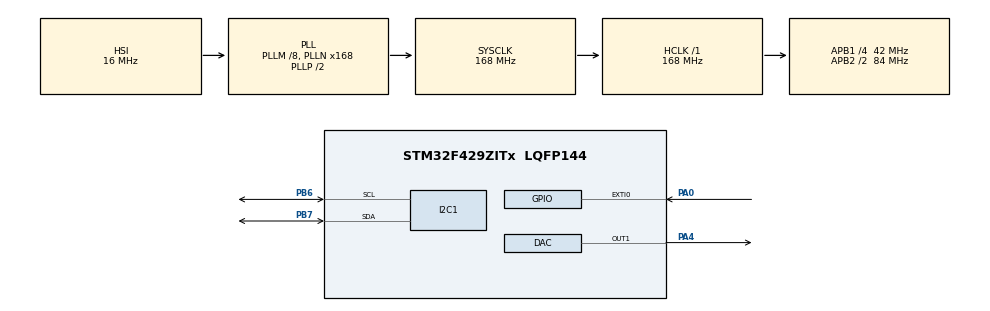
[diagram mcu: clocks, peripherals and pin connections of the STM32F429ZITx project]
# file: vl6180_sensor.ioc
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Mcu.Family=STM32F4
SH.COMP_DAC1_group.0=DAC_OUT1,DAC_OUT1
VP_SYS_VS_tim6.Mode=TIM6
TIM2.Channel-Output\ Compare1\ No\ Output=TIM_CHANNEL_1
RCC.CortexFreq_Value=168000000
Dma.DAC1.0.Instance=DMA1_Stream5
NVIC.I2C1_EV_IRQn=true\:0\:0\:false\:false\:true\:true\:true
NVIC.TIM6_DAC_IRQn=true\:0\:0\:false\:false\:true\:false\:true
PA0/WKUP.Signal=GPXTI0
RCC.APB1CLKDivider=RCC_HCLK_DIV4
RCC.SYSCLKSource=RCC_SYSCLKSOURCE_PLLCLK
ProjectManager.StackSize=0x400
Dma.DAC1.0.MemDataAlignment=DMA_MDATAALIGN_WORD
PA13.Signal=SYS_JTMS-SWDIO
ProjectManager.TargetToolchain=STM32CubeIDE
NVIC.DMA1_Stream5_IRQn=true\:0\:0\:false\:false\:true\:false\:true
PH0/OSC_IN.Mode=HSE-External-Clock-Source
RCC.HCLKFreq_Value=168000000
Dma.DAC1.0.PeriphInc=DMA_PINC_DISABLE
RCC.APB2TimFreq_Value=168000000
PB6.Signal=I2C1_SCL
PH1/OSC_OUT.Signal=RCC_OSC_OUT
PB6.Mode=I2C
RCC.LSE_VALUE=32768
Dma.DAC1.0.Direction=DMA_MEMORY_TO_PERIPH
RCC.AHBFreq_Value=168000000
RCC.HSE_VALUE=8000000
VP_TIM2_VS_no_output1.Mode=Output Compare1 No Output
PB3.Mode=Trace_Asynchronous_SW
board=STM32F429I-DISC1
RCC.VCOOutputFreq_Value=336000000
PH0/OSC_IN.Signal=RCC_OSC_IN
RCC.APB2Freq_Value=84000000
Dma.DAC1.0.Priority=DMA_PRIORITY_LOW
DAC.DAC_Trigger=DAC_TRIGGER_T2_TRGO
VP_TIM2_VS_ClockSourceINT.Mode=Internal
Dma.DAC1.0.FIFOMode=DMA_FIFOMODE_DISABLE
PA14.Mode=Trace_Asynchronous_SW
NVIC.TIM2_IRQn=true\:0\:0\:false\:false\:true\:true\:true
PB7.Signal=I2C1_SDA
TIM2.Period=100
PA0/WKUP.GPIO_PuPd=GPIO_PULLDOWN
PA0/WKUP.GPIO_ModeDefaultEXTI=GPIO_MODE_IT_RISING
PA13.Mode=Trace_Asynchronous_SW
PH1/OSC_OUT.Mode=HSE-External-Clock-Source
Mcu.Name=STM32F429ZITx
RCC.48MHZClocksFreq_Value=48000000
PB3.Signal=SYS_JTDO-SWO
NVIC.EXTI0_IRQn=true\:0\:0\:false\:false\:true\:true\:true
PA4.Signal=COMP_DAC1_group
RCC.SYSCLKFreq_VALUE=168000000
Mcu.Package=LQFP144
TIM2.Prescaler=168-1
Dma.DAC1.0.PeriphDataAlignment=DMA_PDATAALIGN_WORD
NVIC.TimeBase=TIM6_DAC_IRQn
Dma.DAC1.0.MemInc=DMA_MINC_ENABLE
Dma.DAC1.0.Mode=DMA_CIRCULAR
PB7.Mode=I2C
NVIC.TimeBaseIP=TIM6
PA14.Signal=SYS_JTCK-SWCLK
ProjectManager.HeapSize=0x200
RCC.HSI_VALUE=16000000
RCC.PLLQ=7
NVIC.PriorityGroup=NVIC_PRIORITYGROUP_4
TIM2.TIM_MasterOutputTrigger=TIM_TRGO_UPDATE
RCC.APB2CLKDivider=RCC_HCLK_DIV2
RCC.PLLM=8
RCC.PLLN=168
RCC.APB1TimFreq_Value=84000000
TIM2.AutoReloadPreload=TIM_AUTORELOAD_PRELOAD_ENABLE
Dma.Request0=DAC1
RCC.APB1Freq_Value=42000000

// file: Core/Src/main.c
/* USER CODE BEGIN Header */
/**
  ******************************************************************************
  * @file           : main.c
  * @brief          : Main program body
  ******************************************************************************
  * @attention
  *
  * <h2><center>&copy; Copyright (c) 2021 STMicroelectronics.
  * All rights reserved.</center></h2>
  *
  * This software component is licensed by ST under BSD 3-Clause license,
  * the "License"; You may not use this file except in compliance with the
  * License. You may obtain a copy of the License at:
  *                        opensource.org/licenses/BSD-3-Clause
  *
  ******************************************************************************
  */
/* USER CODE END Header */
#include "main.h"
#include "dac.h"
#include "dma.h"
#include "i2c.h"
#include "tim.h"
#include "gpio.h"

/* USER CODE BEGIN Includes */
#include <math.h>
#include "vl_6180.h"
/* USER CODE END Includes */

/* USER CODE BEGIN PM */
#define PI 3.14159

/* USER CODE END PM */

void SystemClock_Config(void);

/* USER CODE BEGIN 0 */
/* array to hold the sin wave digital values  */
uint32_t sine_val[100];

uint8_t freq =1 ,dev=1;

void Get_SineVal(void)
{
	for(int i=0 ;i<100;i++)
	{
		sine_val[i] = ((sin(i*2*PI/100))*(4096/2)); /* equation to generate digital values*/
	}
}
/* USER CODE END 0 */

int main(void)
{

  /* MCU Configuration--------------------------------------------------------*/

  /* Reset of all peripherals, Initializes the Flash interface and the Systick. */
  HAL_Init();

  /* Configure the system clock */
  SystemClock_Config();

  /* Initialize all configured peripherals */
  MX_GPIO_Init();
  MX_DMA_Init();
  MX_DAC_Init();
  MX_TIM2_Init();
  MX_I2C1_Init();
  /* USER CODE BEGIN 2 */

  Get_SineVal();

  HAL_TIM_Base_Start_IT(&htim2); /* start timer as a  DAC trigger */
  HAL_DAC_Start_DMA(&hdac, DAC_CHANNEL_1, sine_val, 50 , DAC_ALIGN_12B_R);
  init_vl6180(); /* initialize vl6180 sensor */

  /* USER CODE END 2 */

  /* Infinite loop */
  while (1)
  {

    /* USER CODE BEGIN 3 */

	  	  HAL_Delay(50);
	  	  freq= (VL6180_GetDistance())/dev; /* used to modify the frequency */

  }
  /* USER CODE END 3 */
}

void SystemClock_Config(void)
{
  RCC_OscInitTypeDef RCC_OscInitStruct = {0};
  RCC_ClkInitTypeDef RCC_ClkInitStruct = {0};

  /** Configure the main internal regulator output voltage
  */
  __HAL_RCC_PWR_CLK_ENABLE();
  __HAL_PWR_VOLTAGESCALING_CONFIG(PWR_REGULATOR_VOLTAGE_SCALE1);
  /** Initializes the RCC Oscillators according to the specified parameters
  * in the RCC_OscInitTypeDef structure.
  */
  RCC_OscInitStruct.OscillatorType = RCC_OSCILLATORTYPE_HSI;
  RCC_OscInitStruct.HSIState = RCC_HSI_ON;
  RCC_OscInitStruct.HSICalibrationValue = RCC_HSICALIBRATION_DEFAULT;
  RCC_OscInitStruct.PLL.PLLState = RCC_PLL_ON;
  RCC_OscInitStruct.PLL.PLLSource = RCC_PLLSOURCE_HSI;
  RCC_OscInitStruct.PLL.PLLM = 8;
  RCC_OscInitStruct.PLL.PLLN = 168;
  RCC_OscInitStruct.PLL.PLLP = RCC_PLLP_DIV2;
  RCC_OscInitStruct.PLL.PLLQ = 7;
  if (HAL_RCC_OscConfig(&RCC_OscInitStruct) != HAL_OK)
  {
    Error_Handler();
  }
  /** Initializes the CPU, AHB and APB buses clocks
  */
  RCC_ClkInitStruct.ClockType = RCC_CLOCKTYPE_HCLK|RCC_CLOCKTYPE_SYSCLK
                              |RCC_CLOCKTYPE_PCLK1|RCC_CLOCKTYPE_PCLK2;
  RCC_ClkInitStruct.SYSCLKSource = RCC_SYSCLKSOURCE_PLLCLK;
  RCC_ClkInitStruct.AHBCLKDivider = RCC_SYSCLK_DIV1;
  RCC_ClkInitStruct.APB1CLKDivider = RCC_HCLK_DIV4;
  RCC_ClkInitStruct.APB2CLKDivider = RCC_HCLK_DIV2;

  if (HAL_RCC_ClockConfig(&RCC_ClkInitStruct, FLASH_LATENCY_5) != HAL_OK)
  {
    Error_Handler();
  }
}

/* USER CODE BEGIN 4 */

void HAL_GPIO_EXTI_Callback(uint16_t GPIO_Pin)
{

	static int x =0  ;
	switch(x)
	{
	case 0 :
		dev = 1 ;
	break ;
	case 1 :
		dev = 2 ;
	break ;
	case 2 :
		dev = 3 ;
	break ;
	case 3 :
		dev = 4 ;
	break ;
	case 4 :
		dev = 5 ;
	break ;
	case 5 :
		dev = 6 ;
	break ;

	case 6 :
	default :
		x=0;
		break ;
	}

	x++;

}
/* USER CODE END 4 */

 /**
  * @brief  Period elapsed callback in non blocking mode
  * @note   This function is called  when TIM6 interrupt took place, inside
  * HAL_TIM_IRQHandler(). It makes a direct call to HAL_IncTick() to increment
  * a global variable "uwTick" used as application time base.
  * @param  htim : TIM handle
  * @retval None
  */
void HAL_TIM_PeriodElapsedCallback(TIM_HandleTypeDef *htim)
{
  if (htim->Instance == TIM6) {
    HAL_IncTick();
  }
  /* USER CODE BEGIN Callback 1 */
  if (htim->Instance == TIM2)
	  {
	__HAL_TIM_SET_AUTORELOAD(htim,freq);
	  }
  /* USER CODE END Callback 1 */
}

void Error_Handler(void)
{
  __disable_irq();
  while (1)
  {
  }
}

/************************ (C) COPYRIGHT STMicroelectronics *****END OF FILE****/
